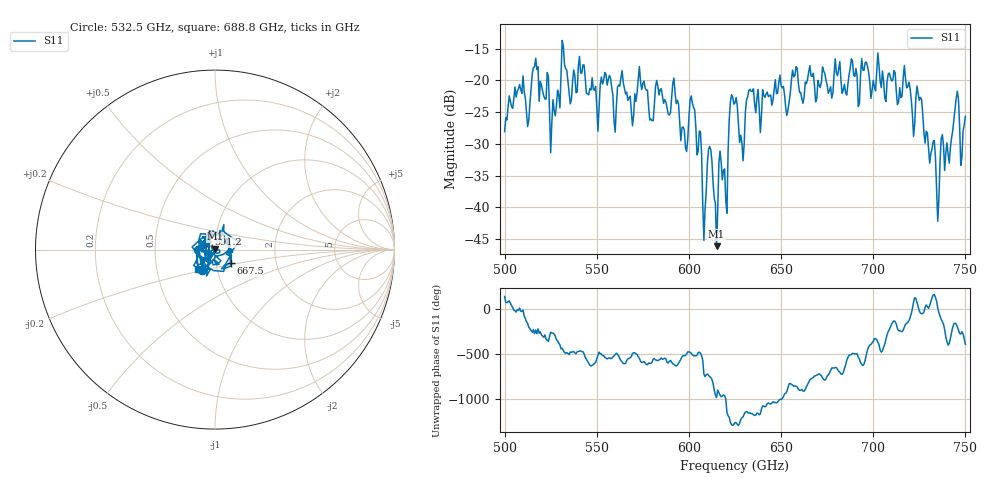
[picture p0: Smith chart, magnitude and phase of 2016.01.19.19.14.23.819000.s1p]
!Created with skrf (http://scikit-rf.org).
# GHz S RI R 50.0
!freq ReS11 ImS11
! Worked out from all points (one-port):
!   401 points, 500 GHz to 750 GHz, reference 50 ohm
!   lowest |S11| = -46.1 dB at 615 GHz (marker M1), VSWR 1.01, Z = 50 + j0.491 ohm
!   |S11| at or under -10 dB: start of sweep to end of sweep
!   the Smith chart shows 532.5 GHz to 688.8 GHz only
!   S11 on the Smith chart (normalised r, x): 532.5 GHz: 0.84, -0.19; 591.2 GHz: 0.92, +0.16; 667.5 GHz: 1.18, -0.18; 688.8 GHz: 0.81, -0.18
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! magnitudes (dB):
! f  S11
! 500 GHz  -28.1
! 508.8 GHz  -21.5
! 513.1 GHz  -26.2
! 516.9 GHz  -16.5
! 526.2 GHz  -23.0
! 531.2 GHz  -13.7
! 532.5 GHz  -17.5
! 550 GHz  -24.0
! 562.5 GHz  -20.9
! 579.4 GHz  -26.1
! 591.2 GHz  -20.4
! 593.8 GHz  -23.1
! 598.1 GHz  -30.5
! 601.9 GHz  -23.6
! 608.1 GHz  -45.2
! 611.2 GHz  -30.4
! 615 GHz  -46.1
! 625 GHz  -23.5
! 628.8 GHz  -29.9
! 633.8 GHz  -21.7
! 656.2 GHz  -18.4
! 667.5 GHz  -18.9
! 687.5 GHz  -18.1
! 688.8 GHz  -17.0
! 718.8 GHz  -21.0
! 735 GHz  -42.2
! 745 GHz  -22.8
! 750 GHz  -25.7
